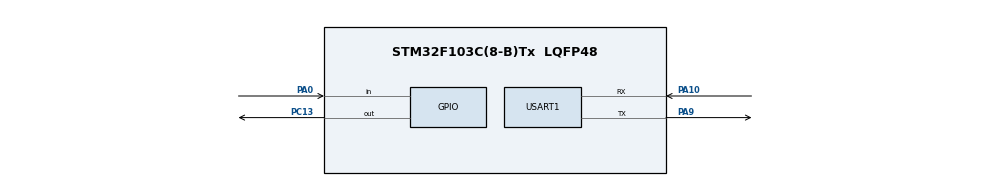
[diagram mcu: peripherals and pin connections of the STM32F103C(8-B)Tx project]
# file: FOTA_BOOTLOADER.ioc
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Mcu.Family=STM32F1
Mcu.Name=STM32F103C(8-B)Tx
Mcu.Package=LQFP48
NVIC.PriorityGroup=NVIC_PRIORITYGROUP_4
PA0-WKUP.Signal=GPIO_Input
PA10.Mode=Asynchronous
PA10.Signal=USART1_RX
PA13.Mode=Serial_Wire
PA13.Signal=SYS_JTMS-SWDIO
PA14.Mode=Serial_Wire
PA14.Signal=SYS_JTCK-SWCLK
PA9.Mode=Asynchronous
PA9.Signal=USART1_TX
PC13-TAMPER-RTC.Signal=GPIO_Output
ProjectManager.HeapSize=0x200
ProjectManager.StackSize=0x400
ProjectManager.TargetToolchain=STM32CubeIDE
RCC.APB1Freq_Value=8000000
RCC.APB2Freq_Value=8000000
USART1.VirtualMode=VM_ASYNC
VP_CRC_VS_CRC.Mode=CRC_Activate
board=custom

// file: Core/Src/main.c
/* USER CODE BEGIN Header */
/**
  ******************************************************************************
  * @file           : main.c
  * @brief          : Main program body
  ******************************************************************************
  * @attention
  *
  * Copyright (c) 2025 STMicroelectronics.
  * All rights reserved.
  *
  * This software is licensed under terms that can be found in the LICENSE file
  * in the root directory of this software component.
  * If no LICENSE file comes with this software, it is provided AS-IS.
  *
  ******************************************************************************
  */
/* USER CODE END Header */
#include "main.h"

/* USER CODE BEGIN Includes */
#include "flash_if.h"
#include "uart_if.h"
#include "crc_if.h"
#include "gpio_if.h"
#include "app_jump.h"
#include "fota_error_handler.h"
/* USER CODE END Includes */

/* USER CODE BEGIN PD */
#define APP_ADDRESS        0x08004000U  // Main firmware address
#define BACKUP_ADDRESS     0x0800C000U  // Backup firmware address
#define OTA_TRIGGER_PIN    GPIO_PIN_0
#define OTA_TRIGGER_PORT   GPIOA
/* USER CODE END PD */

CRC_HandleTypeDef hcrc;

UART_HandleTypeDef huart1;

void SystemClock_Config(void);
static void MX_GPIO_Init(void);
static void MX_CRC_Init(void);
static void MX_USART1_UART_Init(void);

int main(void)
{

  /* MCU Configuration--------------------------------------------------------*/

  /* Reset of all peripherals, Initializes the Flash interface and the Systick. */
  HAL_Init();

  /* Configure the system clock */
  SystemClock_Config();

  /* Initialize all configured peripherals */
  MX_GPIO_Init();
  MX_CRC_Init();
  MX_USART1_UART_Init();
  /* USER CODE BEGIN 2 */
    if (Is_OTA_Triggered(OTA_TRIGGER_PORT, OTA_TRIGGER_PIN))
    {
        UART_Send_String("\nOTA Update Requested\n", &huart1);

        uint8_t firmware[MAX_FW_SIZE];
        uint32_t fw_len = UART_Receive_Firmware(firmware,&huart1);

        if (CRC_Check_Passed(firmware, fw_len,&huart1, &hcrc))
        {
        	UART_Send_String("CRC Passed. Flashing new firmware...\n", &huart1);

            Backup_Current_Firmware(APP_ADDRESS, BACKUP_ADDRESS);
            Flash_Erase(APP_ADDRESS, fw_len);
            Flash_Write(APP_ADDRESS, firmware, fw_len);

            UART_Send_String("Firmware updated successfully.\n", &huart1);
        }
        else
        {
        	UART_Send_String("CRC Failed. Launching error handler.\n", &huart1);
        	FOTA_Error_Handler();
        }
    }

    UART_Send_String("Booting main application...\n", &huart1);
    Jump_To_Application(APP_ADDRESS);
  /* USER CODE END 2 */

  /* Infinite loop */
  while (1)
  {

  }
}

void SystemClock_Config(void)
{
  RCC_OscInitTypeDef RCC_OscInitStruct = {0};
  RCC_ClkInitTypeDef RCC_ClkInitStruct = {0};

  /** Initializes the RCC Oscillators according to the specified parameters
  * in the RCC_OscInitTypeDef structure.
  */
  RCC_OscInitStruct.OscillatorType = RCC_OSCILLATORTYPE_HSI;
  RCC_OscInitStruct.HSIState = RCC_HSI_ON;
  RCC_OscInitStruct.HSICalibrationValue = RCC_HSICALIBRATION_DEFAULT;
  RCC_OscInitStruct.PLL.PLLState = RCC_PLL_NONE;
  if (HAL_RCC_OscConfig(&RCC_OscInitStruct) != HAL_OK)
  {
    Error_Handler();
  }

  /** Initializes the CPU, AHB and APB buses clocks
  */
  RCC_ClkInitStruct.ClockType = RCC_CLOCKTYPE_HCLK|RCC_CLOCKTYPE_SYSCLK
                              |RCC_CLOCKTYPE_PCLK1|RCC_CLOCKTYPE_PCLK2;
  RCC_ClkInitStruct.SYSCLKSource = RCC_SYSCLKSOURCE_HSI;
  RCC_ClkInitStruct.AHBCLKDivider = RCC_SYSCLK_DIV1;
  RCC_ClkInitStruct.APB1CLKDivider = RCC_HCLK_DIV1;
  RCC_ClkInitStruct.APB2CLKDivider = RCC_HCLK_DIV1;

  if (HAL_RCC_ClockConfig(&RCC_ClkInitStruct, FLASH_LATENCY_0) != HAL_OK)
  {
    Error_Handler();
  }
}

static void MX_CRC_Init(void)
{

  hcrc.Instance = CRC;
  if (HAL_CRC_Init(&hcrc) != HAL_OK)
  {
    Error_Handler();
  }

}

static void MX_USART1_UART_Init(void)
{

  huart1.Instance = USART1;
  huart1.Init.BaudRate = 115200;
  huart1.Init.WordLength = UART_WORDLENGTH_8B;
  huart1.Init.StopBits = UART_STOPBITS_1;
  huart1.Init.Parity = UART_PARITY_NONE;
  huart1.Init.Mode = UART_MODE_TX_RX;
  huart1.Init.HwFlowCtl = UART_HWCONTROL_NONE;
  huart1.Init.OverSampling = UART_OVERSAMPLING_16;
  if (HAL_UART_Init(&huart1) != HAL_OK)
  {
    Error_Handler();
  }

}

static void MX_GPIO_Init(void)
{
  GPIO_InitTypeDef GPIO_InitStruct = {0};

  /* GPIO Ports Clock Enable */
  __HAL_RCC_GPIOC_CLK_ENABLE();
  __HAL_RCC_GPIOA_CLK_ENABLE();

  /*Configure GPIO pin Output Level */
  HAL_GPIO_WritePin(GPIOC, GPIO_PIN_13, GPIO_PIN_RESET);

  /*Configure GPIO pin : PC13 */
  GPIO_InitStruct.Pin = GPIO_PIN_13;
  GPIO_InitStruct.Mode = GPIO_MODE_OUTPUT_PP;
  GPIO_InitStruct.Pull = GPIO_NOPULL;
  GPIO_InitStruct.Speed = GPIO_SPEED_FREQ_LOW;
  HAL_GPIO_Init(GPIOC, &GPIO_InitStruct);

  /*Configure GPIO pin : PA0 */
  GPIO_InitStruct.Pin = GPIO_PIN_0;
  GPIO_InitStruct.Mode = GPIO_MODE_INPUT;
  GPIO_InitStruct.Pull = GPIO_NOPULL;
  HAL_GPIO_Init(GPIOA, &GPIO_InitStruct);

}

void Error_Handler(void)
{
  __disable_irq();
  while (1)
  {
  }
}
